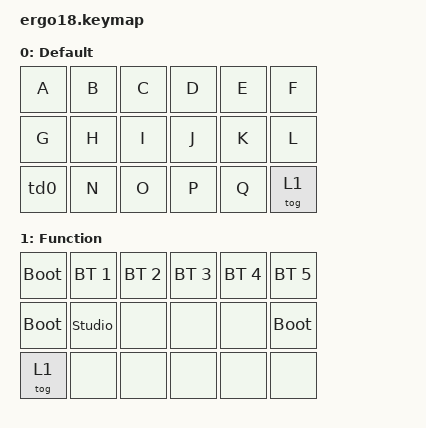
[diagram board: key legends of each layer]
#include <behaviors.dtsi>
#include <dt-bindings/zmk/bt.h>
#include <dt-bindings/zmk/keys.h>

/ {
    behaviors {
        td0: tap_dance_0 {
            compatible = "zmk,behavior-tap-dance";
            #binding-cells = <0>;
            tapping-term-ms = <135>;
            bindings = <&kp M>, <&tog 1>;
        };
    };

    keymap {
        compatible = "zmk,keymap";

        default_layer {
            display-name = "Default";
            bindings = <
&kp A  &kp B  &kp C  &kp D  &kp E  &kp F
&kp G  &kp H  &kp I  &kp J  &kp K  &kp L
&td0   &kp N  &kp O  &kp P  &kp Q  &tog 1
            >;
        };

        function_layer {
            display-name = "Function";
            bindings = <
&bootloader  &bt BT_SEL 1    &bt BT_SEL 2  &bt BT_SEL 3  &bt BT_SEL 4  &bt BT_SEL 5
&bootloader  &studio_unlock  &none         &none         &none         &bootloader
&tog 1       &none           &none         &none         &none         &none
            >;
        };
    };
};
